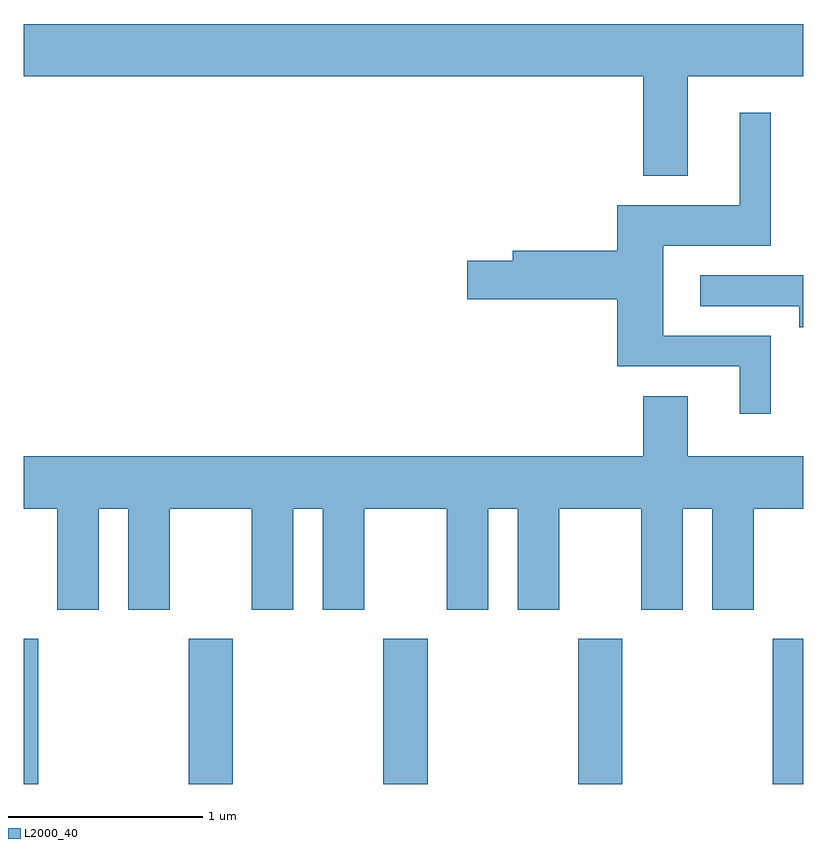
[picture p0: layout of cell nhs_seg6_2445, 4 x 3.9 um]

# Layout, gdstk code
import gdstk
lib = gdstk.Library(unit=1e-6, precision=1e-09)
def R(c, l, rs):  # rectangles x0, y0, x1, y1
    for r in rs: c.add(gdstk.rectangle(r[:2], r[2:], *l))
def A(c, l, x, y, w, h, nx, ny, dx, dy):  # array of equal rectangles
    R(c, l, [(x+i*dx, y+j*dy, x+i*dx+w, y+j*dy+h) for i in range(nx) for j in range(ny)])
def P(c, l, *ps):  # polygons
    for p in ps: c.add(gdstk.Polygon(p, *l))
L2000_40 = (2000, 40)

nhs_seg6_2445 = lib.new_cell('nhs_seg6_2445')
A(nhs_seg6_2445, L2000_40, 260.456, 1564.162, 0.228, 0.747, 3, 1, 1, 0)
R(nhs_seg6_2445, L2000_40, [(259.611,1564.162,259.684,1564.909), (263.456,1564.162,263.611,1564.909)])
P(nhs_seg6_2445, L2000_40, [(263.019,1567.796),(263.611,1567.796),(263.611,1568.064),(259.611,1568.064),(259.611,1567.796),(262.791,1567.796),(262.791,1567.286),(263.019,1567.286)],
  [(263.444,1566.464),(262.894,1566.464),(262.894,1566.926),(263.444,1566.926),(263.444,1567.608),(263.286,1567.608),(263.286,1567.134),(262.656,1567.134),(262.656,1566.899),(262.121,1566.899),(262.121,1566.849),(261.886,1566.849),(261.886,1566.651),(262.656,1566.651),(262.656,1566.306),(263.286,1566.306),(263.286,1566.063),(263.444,1566.063)],
  [(263.611,1566.774),(263.083,1566.774),(263.083,1566.616),(263.591,1566.616),(263.591,1566.506),(263.611,1566.506)],
  [(259.994,1565.576),(260.146,1565.576),(260.146,1565.056),(260.359,1565.056),(260.359,1565.576),(260.781,1565.576),(260.781,1565.056),(260.994,1565.056),(260.994,1565.576),(261.146,1565.576),(261.146,1565.056),(261.359,1565.056),(261.359,1565.576),(261.781,1565.576),(261.781,1565.056),(261.994,1565.056),(261.994,1565.576),(262.146,1565.576),(262.146,1565.056),(262.359,1565.056),(262.359,1565.576),(262.781,1565.576),(262.781,1565.056),(262.994,1565.056),(262.994,1565.576),(263.146,1565.576),(263.146,1565.056),(263.359,1565.056),(263.359,1565.576),(263.611,1565.576),(263.611,1565.844),(263.019,1565.844),(263.019,1566.154),(262.791,1566.154),(262.791,1565.844),(259.611,1565.844),(259.611,1565.576),(259.781,1565.576),(259.781,1565.056),(259.994,1565.056)])

lib.write_gds('nhs_seg6_2445.gds')
